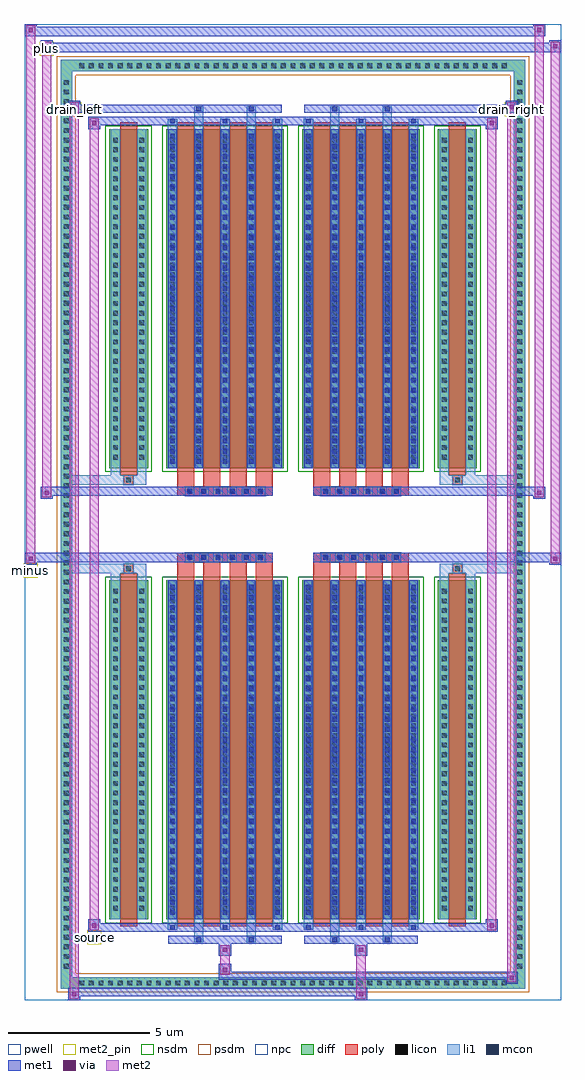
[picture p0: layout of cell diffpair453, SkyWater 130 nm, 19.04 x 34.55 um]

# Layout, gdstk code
import gdstk
lib = gdstk.Library(unit=1e-6, precision=5e-09)
def R(c, l, rs):  # rectangles x0, y0, x1, y1
    for r in rs: c.add(gdstk.rectangle(r[:2], r[2:], *l))
def A(c, l, x, y, w, h, nx, ny, dx, dy):  # array of equal rectangles
    R(c, l, [(x+i*dx, y+j*dy, x+i*dx+w, y+j*dy+h) for i in range(nx) for j in range(ny)])
def P(c, l, *ps):  # polygons
    for p in ps: c.add(gdstk.Polygon(p, *l))
pwell = (64, 44)
diff = (65, 20)
poly = (66, 20)
licon = (66, 44)
li1 = (67, 20)
mcon = (67, 44)
met1 = (68, 20)
via = (68, 44)
met2_pin = (69, 16)
met2 = (69, 20)
nsdm = (93, 44)
psdm = (94, 20)
npc = (95, 20)

diffpair453 = lib.new_cell('diffpair453')
R(diffpair453, pwell, [(-9.5,-16.84,9.5,17.71), (-6.82,-15.03,-0.01,-0.805), (0.01,-15.03,6.82,-0.805), (-6.82,0.805,-0.01,15.03), (0.01,0.805,6.82,15.03)])
A(diffpair453, diff, -7.685, -16.44, 0.41, 0.41, 45, 2, 0.34, 32.47)
A(diffpair453, diff, -8.23, -15.845, 0.41, 0.41, 1, 93, 0, 0.34)
A(diffpair453, diff, 7.82, -15.845, 0.41, 0.41, 1, 93, 0, 0.34)
R(diffpair453, diff, [(-7.685,-16.44,7.685,-16.03), (-8.23,-15.845,-7.82,15.845), (7.82,-15.845,8.23,15.845), (-6.51,-13.985,-5.13,-1.985), (-4.49,-13.985,-0.32,-1.985), (0.32,-13.985,4.49,-1.985), (5.13,-13.985,6.51,-1.985), (-6.51,1.985,-5.13,13.985), (-4.49,1.985,-0.32,13.985), (0.32,1.985,4.49,13.985), (5.13,1.985,6.51,13.985), (-7.685,16.03,7.685,16.44)])
P(diffpair453, diff, [(8.23,16.44),(-8.23,16.44),(-8.23,-16.03),(-7.82,-16.03),(-7.82,16.03),(7.82,16.03),(7.82,-16.03),(-7.82,-16.03),(-8.23,-16.03),(-8.23,-16.44),(8.23,-16.44)])
A(diffpair453, poly, -4.1, -14.235, 0.6, 12.5, 4, 2, 0.93, 15.97)
A(diffpair453, poly, 0.71, -14.235, 0.6, 12.5, 4, 2, 0.93, 15.97)
A(diffpair453, poly, -4.1, -1.735, 0.6, 0.4, 4, 2, 0.93, 3.07)
A(diffpair453, poly, 0.71, -1.735, 0.6, 0.4, 4, 2, 0.93, 3.07)
A(diffpair453, poly, -3.82, -1.335, 0.33, 0.33, 6, 2, 0.5, 2.34)
A(diffpair453, poly, 0.99, -1.335, 0.33, 0.33, 6, 2, 0.5, 2.34)
R(diffpair453, poly, [(-6.12,-14.235,-5.52,-1.735), (5.52,-14.235,6.12,-1.735), (-5.985,-1.735,-5.655,-1.405), (-5.985,-1.735,-5.655,-1.405), (5.655,-1.735,5.985,-1.405), (5.655,-1.735,5.985,-1.405), (-4.1,-1.335,-0.71,-1.005), (0.71,-1.335,4.1,-1.005), (-4.1,1.005,-0.71,1.335), (0.71,1.005,4.1,1.335), (-5.985,1.405,-5.655,1.735), (-5.985,1.405,-5.655,1.735), (5.655,1.405,5.985,1.735), (5.655,1.405,5.985,1.735), (-6.12,1.735,-5.52,14.235), (5.52,1.735,6.12,14.235)])
A(diffpair453, licon, -7.565, -16.32, 0.17, 0.17, 45, 2, 0.34, 32.47)
A(diffpair453, licon, -8.11, -15.725, 0.17, 0.17, 1, 93, 0, 0.34)
A(diffpair453, licon, 7.94, -15.725, 0.17, 0.17, 1, 93, 0, 0.34)
A(diffpair453, licon, -6.37, -13.68, 0.17, 0.17, 1, 34, 0, 0.34)
A(diffpair453, licon, -5.44, -13.68, 0.17, 0.17, 1, 34, 0, 0.34)
A(diffpair453, licon, -4.35, -13.68, 0.17, 0.17, 5, 34, 0.93, 0.34)
A(diffpair453, licon, 0.46, -13.68, 0.17, 0.17, 5, 34, 0.93, 0.34)
A(diffpair453, licon, 5.27, -13.68, 0.17, 0.17, 1, 34, 0, 0.34)
A(diffpair453, licon, 6.2, -13.68, 0.17, 0.17, 1, 34, 0, 0.34)
A(diffpair453, licon, -3.74, -1.255, 0.17, 0.17, 6, 2, 0.5, 2.34)
A(diffpair453, licon, 1.07, -1.255, 0.17, 0.17, 6, 2, 0.5, 2.34)
A(diffpair453, licon, -6.37, 2.29, 0.17, 0.17, 1, 34, 0, 0.34)
A(diffpair453, licon, -5.44, 2.29, 0.17, 0.17, 1, 34, 0, 0.34)
A(diffpair453, licon, -4.35, 2.29, 0.17, 0.17, 5, 34, 0.93, 0.34)
A(diffpair453, licon, 0.46, 2.29, 0.17, 0.17, 5, 34, 0.93, 0.34)
A(diffpair453, licon, 5.27, 2.29, 0.17, 0.17, 1, 34, 0, 0.34)
A(diffpair453, licon, 6.2, 2.29, 0.17, 0.17, 1, 34, 0, 0.34)
R(diffpair453, licon, [(-5.905,-1.655,-5.735,-1.485), (5.735,-1.655,5.905,-1.485), (-5.905,1.485,-5.735,1.655), (5.735,1.485,5.905,1.655)])
A(diffpair453, li1, -7.645, -16.4, 0.33, 0.33, 45, 2, 0.34, 32.47)
A(diffpair453, li1, -8.19, -15.805, 0.33, 0.33, 1, 93, 0, 0.34)
A(diffpair453, li1, 7.86, -15.805, 0.33, 0.33, 1, 93, 0, 0.34)
A(diffpair453, li1, -4.43, -14.36, 0.33, 0.375, 3, 2, 1.86, 28.345)
A(diffpair453, li1, -4.35, -14.36, 0.17, 0.17, 3, 2, 1.86, 28.55)
A(diffpair453, li1, 0.38, -14.36, 0.33, 0.375, 3, 2, 1.86, 28.345)
A(diffpair453, li1, 0.46, -14.36, 0.17, 0.17, 3, 2, 1.86, 28.55)
A(diffpair453, li1, -4.43, -13.985, 0.33, 12, 5, 2, 0.93, 15.97)
A(diffpair453, li1, 0.38, -13.985, 0.33, 12, 5, 2, 0.93, 15.97)
A(diffpair453, li1, -4.35, -13.83, 0.17, 0.17, 5, 33, 0.93, 0.36)
A(diffpair453, li1, -4.35, -13.83, 0.17, 11.69, 5, 2, 0.93, 15.97)
A(diffpair453, li1, 0.46, -13.83, 0.17, 0.17, 5, 33, 0.93, 0.36)
A(diffpair453, li1, 0.46, -13.83, 0.17, 11.69, 5, 2, 0.93, 15.97)
A(diffpair453, li1, -6.45, -13.76, 0.33, 0.33, 1, 34, 0, 0.34)
A(diffpair453, li1, -5.52, -13.76, 0.33, 0.33, 1, 34, 0, 0.34)
A(diffpair453, li1, -4.43, -13.76, 0.33, 0.33, 5, 34, 0.93, 0.34)
A(diffpair453, li1, 0.38, -13.76, 0.33, 0.33, 5, 34, 0.93, 0.34)
A(diffpair453, li1, 5.19, -13.76, 0.33, 0.33, 1, 34, 0, 0.34)
A(diffpair453, li1, 6.12, -13.76, 0.33, 0.33, 1, 34, 0, 0.34)
A(diffpair453, li1, -3.82, -1.335, 0.33, 0.33, 6, 2, 0.5, 2.34)
A(diffpair453, li1, 0.99, -1.335, 0.33, 0.33, 6, 2, 0.5, 2.34)
A(diffpair453, li1, -4.35, 2.14, 0.17, 0.17, 5, 33, 0.93, 0.36)
A(diffpair453, li1, 0.46, 2.14, 0.17, 0.17, 5, 33, 0.93, 0.36)
A(diffpair453, li1, -6.45, 2.21, 0.33, 0.33, 1, 34, 0, 0.34)
A(diffpair453, li1, -5.52, 2.21, 0.33, 0.33, 1, 34, 0, 0.34)
A(diffpair453, li1, -4.43, 2.21, 0.33, 0.33, 5, 34, 0.93, 0.34)
A(diffpair453, li1, 0.38, 2.21, 0.33, 0.33, 5, 34, 0.93, 0.34)
A(diffpair453, li1, 5.19, 2.21, 0.33, 0.33, 1, 34, 0, 0.34)
A(diffpair453, li1, 6.12, 2.21, 0.33, 0.33, 1, 34, 0, 0.34)
R(diffpair453, li1, [(-8.23,-16.44,-7.82,-16.03), (-8.23,-16.44,-7.82,-16.03), (-7.82,-16.44,7.82,-16.03), (7.82,-16.44,8.23,-16.03), (7.82,-16.44,8.23,-16.03), (-8.23,-16.03,-7.82,16.03), (7.82,-16.03,8.23,16.03), (-3.5,-14.79,-3.17,-13.985), (-3.42,-14.79,-3.25,-14.62), (-1.64,-14.79,-1.31,-13.985), (-1.56,-14.79,-1.39,-14.62), (1.31,-14.79,1.64,-13.985), (1.39,-14.79,1.56,-14.62), (3.17,-14.79,3.5,-13.985), (3.25,-14.79,3.42,-14.62), (-6.45,-13.985,-6.12,-1.985), (-5.52,-13.985,-5.19,-1.985), (5.19,-13.985,5.52,-1.985), (6.12,-13.985,6.45,-1.985), (-6.45,-1.985,-6.12,-1.405), (-5.52,-1.985,-5.19,-1.405), (5.19,-1.985,5.52,-1.405), (6.12,-1.985,6.45,-1.405), (-8.23,-1.735,-5.985,-1.405), (-6.45,-1.735,-5.985,-1.405), (-5.985,-1.735,-5.655,-1.405), (-5.655,-1.735,-5.19,-1.405), (5.19,-1.735,5.655,-1.405), (5.655,-1.735,5.985,-1.405), (5.655,-1.735,8.23,-1.405), (5.985,-1.735,6.45,-1.405), (-8.23,1.405,-5.985,1.735), (-6.45,1.405,-5.985,1.735), (-6.45,1.405,-6.12,1.985), (-5.985,1.405,-5.655,1.735), (-5.655,1.405,-5.19,1.735), (-5.52,1.405,-5.19,1.985), (5.19,1.405,5.655,1.735), (5.19,1.405,5.52,1.985), (5.655,1.405,5.985,1.735), (5.655,1.405,8.23,1.735), (5.985,1.405,6.45,1.735), (6.12,1.405,6.45,1.985), (-6.45,1.985,-6.12,13.985), (-5.52,1.985,-5.19,13.985), (5.19,1.985,5.52,13.985), (6.12,1.985,6.45,13.985), (-3.5,13.985,-3.17,14.79), (-1.64,13.985,-1.31,14.79), (1.31,13.985,1.64,14.79), (3.17,13.985,3.5,14.79), (-3.42,14.62,-3.25,14.79), (-1.56,14.62,-1.39,14.79), (1.39,14.62,1.56,14.79), (3.25,14.62,3.42,14.79), (-8.23,16.03,-7.82,16.44), (-8.23,16.03,-7.82,16.44), (-7.82,16.03,7.82,16.44), (7.82,16.03,8.23,16.44), (7.82,16.03,8.23,16.44)])
A(diffpair453, mcon, -4.35, -14.36, 0.17, 0.17, 3, 2, 1.86, 28.55)
A(diffpair453, mcon, 0.46, -14.36, 0.17, 0.17, 3, 2, 1.86, 28.55)
A(diffpair453, mcon, -4.35, -13.83, 0.17, 0.17, 5, 33, 0.93, 0.36)
A(diffpair453, mcon, 0.46, -13.83, 0.17, 0.17, 5, 33, 0.93, 0.36)
A(diffpair453, mcon, -3.74, -1.255, 0.17, 0.17, 6, 2, 0.5, 2.34)
A(diffpair453, mcon, 1.07, -1.255, 0.17, 0.17, 6, 2, 0.5, 2.34)
A(diffpair453, mcon, -4.35, 2.14, 0.17, 0.17, 5, 33, 0.93, 0.36)
A(diffpair453, mcon, 0.46, 2.14, 0.17, 0.17, 5, 33, 0.93, 0.36)
R(diffpair453, mcon, [(-3.42,-14.79,-3.25,-14.62), (-1.56,-14.79,-1.39,-14.62), (1.39,-14.79,1.56,-14.62), (3.25,-14.79,3.42,-14.62), (-3.42,14.62,-3.25,14.79), (-1.56,14.62,-1.39,14.79), (1.39,14.62,1.56,14.79), (3.25,14.62,3.42,14.79)])
A(diffpair453, met1, -4.41, -14.42, 0.29, 0.29, 3, 2, 1.86, 28.55)
A(diffpair453, met1, 0.4, -14.42, 0.29, 0.29, 3, 2, 1.86, 28.55)
A(diffpair453, met1, -4.41, -13.985, 0.29, 12, 5, 2, 0.93, 15.97)
A(diffpair453, met1, 0.4, -13.985, 0.29, 12, 5, 2, 0.93, 15.97)
A(diffpair453, met1, -4.41, -13.89, 0.29, 0.29, 5, 33, 0.93, 0.36)
A(diffpair453, met1, 0.4, -13.89, 0.29, 0.29, 5, 33, 0.93, 0.36)
A(diffpair453, met1, -3.8, -1.315, 0.29, 0.29, 6, 2, 0.5, 2.34)
A(diffpair453, met1, 1.01, -1.315, 0.29, 0.29, 6, 2, 0.5, 2.34)
A(diffpair453, met1, -4.41, 2.08, 0.29, 0.29, 5, 33, 0.93, 0.36)
A(diffpair453, met1, 0.4, 2.08, 0.29, 0.29, 5, 33, 0.93, 0.36)
R(diffpair453, met1, [(-7.96,-16.84,-7.53,-16.41), (2.19,-16.84,2.62,-16.41), (-7.96,-16.7,2.62,-16.41), (7.53,-16.27,7.96,-15.84), (-2.62,-16.13,7.96,-15.84), (-2.62,-15.99,-2.19,-15.56), (-2.62,-15.28,-2.19,-14.85), (2.19,-15.28,2.62,-14.85), (-4.41,-14.85,-0.4,-14.56), (-3.48,-14.85,-3.19,-14.56), (-1.62,-14.85,-1.33,-14.56), (0.4,-14.85,4.41,-14.56), (1.33,-14.85,1.62,-14.56), (3.19,-14.85,3.48,-14.56), (-7.25,-14.42,-6.82,-13.99), (-7.25,-14.42,-4.41,-14.13), (-4.41,-14.42,-0.4,-14.13), (-0.4,-14.42,0.4,-14.13), (0.4,-14.42,4.41,-14.13), (4.41,-14.42,7.25,-14.13), (6.82,-14.42,7.25,-13.99), (-9.5,-1.435,-9.07,-1.005), (9.07,-1.435,9.5,-1.005), (-9.5,-1.335,-0.71,-1.005), (-4.1,-1.335,-0.71,-1.005), (0.71,-1.335,4.1,-1.005), (0.71,-1.335,9.5,-1.005), (-8.93,0.905,-8.5,1.335), (8.5,0.905,8.93,1.335), (-8.93,1.005,-4.1,1.335), (-4.1,1.005,-0.71,1.335), (0.71,1.005,4.1,1.335), (4.1,1.005,8.93,1.335), (-7.25,13.99,-6.82,14.42), (6.82,13.99,7.25,14.42), (-7.25,14.13,-4.41,14.42), (-4.41,14.13,-0.4,14.42), (-0.4,14.13,0.4,14.42), (0.4,14.13,4.41,14.42), (4.41,14.13,7.25,14.42), (-7.96,14.56,-7.53,14.99), (-7.96,14.56,-4.41,14.85), (-4.41,14.56,-0.4,14.85), (-3.48,14.56,-3.19,14.85), (-1.62,14.56,-1.33,14.85), (0.4,14.56,4.41,14.85), (1.33,14.56,1.62,14.85), (3.19,14.56,3.48,14.85), (4.41,14.56,7.96,14.85), (7.53,14.56,7.96,14.99), (-8.93,16.71,-8.5,17.14), (-8.93,16.71,-6.82,17.04), (-6.82,16.71,6.82,17.04), (6.82,16.71,9.5,17.04), (9.07,16.71,9.5,17.14), (-9.5,17.28,-9.07,17.71), (-9.5,17.28,-6.82,17.61), (-6.82,17.28,6.82,17.61), (6.82,17.28,8.93,17.61), (8.5,17.28,8.93,17.71)])
R(diffpair453, via, [(-7.82,-16.7,-7.67,-16.55), (2.33,-16.7,2.48,-16.55), (7.67,-16.13,7.82,-15.98), (-2.48,-15.85,-2.33,-15.7), (-2.48,-15.14,-2.33,-14.99), (2.33,-15.14,2.48,-14.99), (-7.11,-14.28,-6.96,-14.13), (6.96,-14.28,7.11,-14.13), (-9.36,-1.295,-9.21,-1.145), (9.21,-1.295,9.36,-1.145), (-8.79,1.045,-8.64,1.195), (8.64,1.045,8.79,1.195), (-7.11,14.13,-6.96,14.28), (6.96,14.13,7.11,14.28), (-7.82,14.7,-7.67,14.85), (7.67,14.7,7.82,14.85), (-8.79,16.85,-8.64,17), (9.21,16.85,9.36,17), (-9.36,17.42,-9.21,17.57), (8.64,17.42,8.79,17.57)])
R(diffpair453, met2_pin, [(-7.285,-14.87,-6.785,-14.37), (-9.535,-1.885,-9.035,-1.385), (-7.995,14.44,-7.495,14.94), (7.495,14.44,7.995,14.94), (-8.965,16.59,-8.465,17.09)])
R(diffpair453, met2, [(-7.91,-16.79,-7.58,-16.46), (-7.91,-16.79,-7.58,14.94), (2.24,-16.79,2.57,-16.46), (2.24,-16.46,2.57,-15.23), (7.58,-16.22,7.91,-15.89), (7.58,-16.22,7.91,14.94), (-2.57,-15.94,-2.24,-15.61), (-2.57,-15.61,-2.24,-15.23), (-2.57,-15.23,-2.24,-14.9), (2.24,-15.23,2.57,-14.9), (-7.2,-14.37,-6.87,-14.04), (-7.2,-14.37,-6.87,14.37), (6.87,-14.37,7.2,-14.04), (6.87,-14.37,7.2,14.37), (-9.45,-1.385,-9.12,-1.055), (-9.45,-1.385,-9.12,17.66), (9.12,-1.385,9.45,-1.055), (9.12,-1.385,9.45,17.09), (-8.88,0.955,-8.55,1.285), (-8.88,0.955,-8.55,17.09), (8.55,0.955,8.88,1.285), (8.55,0.955,8.88,17.66), (-7.2,14.04,-6.87,14.37), (6.87,14.04,7.2,14.37), (-7.91,14.61,-7.58,14.94), (7.58,14.61,7.91,14.94), (-8.88,16.76,-8.55,17.09), (9.12,16.76,9.45,17.09), (-9.45,17.33,-9.12,17.66), (8.55,17.33,8.88,17.66)])
P(diffpair453, met2, [(9.45,-1.385),(9.45,-1.385),(9.45,-1.055),(9.45,-1.055)],
  [(9.45,16.76),(9.45,16.76),(9.45,17.09),(9.45,17.09)],
  [(-9.12,-1.385),(-9.12,-1.385),(-9.12,-1.055),(-9.12,-1.055)],
  [(-9.12,17.33),(-9.12,17.33),(-9.12,17.66),(-9.12,17.66)],
  [(8.88,0.955),(8.88,0.955),(8.88,1.285),(8.88,1.285)],
  [(8.88,17.33),(8.88,17.33),(8.88,17.66),(8.88,17.66)],
  [(-8.55,0.955),(-8.55,0.955),(-8.55,1.285),(-8.55,1.285)],
  [(-8.55,16.76),(-8.55,16.76),(-8.55,17.09),(-8.55,17.09)],
  [(-7.58,-16.79),(-7.58,-16.79),(-7.58,-16.46),(-7.58,-16.46)],
  [(-7.58,14.61),(-7.58,14.61),(-7.58,14.94),(-7.58,14.94)],
  [(7.91,-16.22),(7.91,-16.22),(7.91,-15.89),(7.91,-15.89)],
  [(7.91,14.61),(7.91,14.61),(7.91,14.94),(7.91,14.94)],
  [(-6.87,-14.37),(-6.87,-14.37),(-6.87,-14.04),(-6.87,-14.04)],
  [(-6.87,14.04),(-6.87,14.04),(-6.87,14.37),(-6.87,14.37)],
  [(7.2,-14.37),(7.2,-14.37),(7.2,-14.04),(7.2,-14.04)],
  [(7.2,14.04),(7.2,14.04),(7.2,14.37),(7.2,14.37)])
R(diffpair453, nsdm, [(-6.64,-14.115,-5,-1.855), (-4.62,-14.115,-0.19,-1.855), (0.19,-14.115,4.62,-1.855), (5,-14.115,6.64,-1.855), (-6.64,1.855,-5,14.115), (-4.62,1.855,-0.19,14.115), (0.19,1.855,4.62,14.115), (5,1.855,6.64,14.115)])
P(diffpair453, psdm, [(8.36,16.57),(-8.36,16.57),(-8.36,-15.9),(-7.69,-15.9),(-7.69,15.9),(7.69,15.9),(7.69,-15.9),(-7.69,-15.9),(-8.36,-15.9),(-8.36,-16.57),(8.36,-16.57)])
A(diffpair453, npc, -3.84, -1.355, 0.37, 0.37, 6, 2, 0.5, 2.34)
A(diffpair453, npc, 0.97, -1.355, 0.37, 0.37, 6, 2, 0.5, 2.34)
R(diffpair453, npc, [(-6.005,-1.755,-5.635,-1.385), (5.635,-1.755,6.005,-1.385), (-3.84,-1.355,-2.97,-0.985), (-3.84,-1.355,-2.97,-0.985), (-3.34,-1.355,-2.47,-0.985), (-3.34,-1.355,-2.47,-0.985), (-2.84,-1.355,-1.97,-0.985), (-2.84,-1.355,-1.97,-0.985), (-2.34,-1.355,-1.47,-0.985), (-2.34,-1.355,-1.47,-0.985), (-1.84,-1.355,-0.97,-0.985), (-1.84,-1.355,-0.97,-0.985), (0.97,-1.355,1.84,-0.985), (0.97,-1.355,1.84,-0.985), (1.47,-1.355,2.34,-0.985), (1.47,-1.355,2.34,-0.985), (1.97,-1.355,2.84,-0.985), (1.97,-1.355,2.84,-0.985), (2.47,-1.355,3.34,-0.985), (2.47,-1.355,3.34,-0.985), (2.97,-1.355,3.84,-0.985), (2.97,-1.355,3.84,-0.985), (-3.84,0.985,-2.97,1.355), (-3.84,0.985,-2.97,1.355), (-3.34,0.985,-2.47,1.355), (-3.34,0.985,-2.47,1.355), (-2.84,0.985,-1.97,1.355), (-2.84,0.985,-1.97,1.355), (-2.34,0.985,-1.47,1.355), (-2.34,0.985,-1.47,1.355), (-1.84,0.985,-0.97,1.355), (-1.84,0.985,-0.97,1.355), (0.97,0.985,1.84,1.355), (0.97,0.985,1.84,1.355), (1.47,0.985,2.34,1.355), (1.47,0.985,2.34,1.355), (1.97,0.985,2.84,1.355), (1.97,0.985,2.84,1.355), (2.47,0.985,3.34,1.355), (2.47,0.985,3.34,1.355), (2.97,0.985,3.84,1.355), (2.97,0.985,3.84,1.355), (-6.005,1.385,-5.635,1.755), (5.635,1.385,6.005,1.755)])
diffpair453.add(gdstk.Label('minus', (-9.285,-1.635), layer=69, texttype=5))
diffpair453.add(gdstk.Label('drain_right', (7.745,14.69), layer=69, texttype=5))
diffpair453.add(gdstk.Label('drain_left', (-7.745,14.69), layer=69, texttype=5))
diffpair453.add(gdstk.Label('source', (-7.035,-14.62), layer=69, texttype=5))
diffpair453.add(gdstk.Label('plus', (-8.715,16.84), layer=69, texttype=5))

lib.write_gds('diffpair453.gds')
